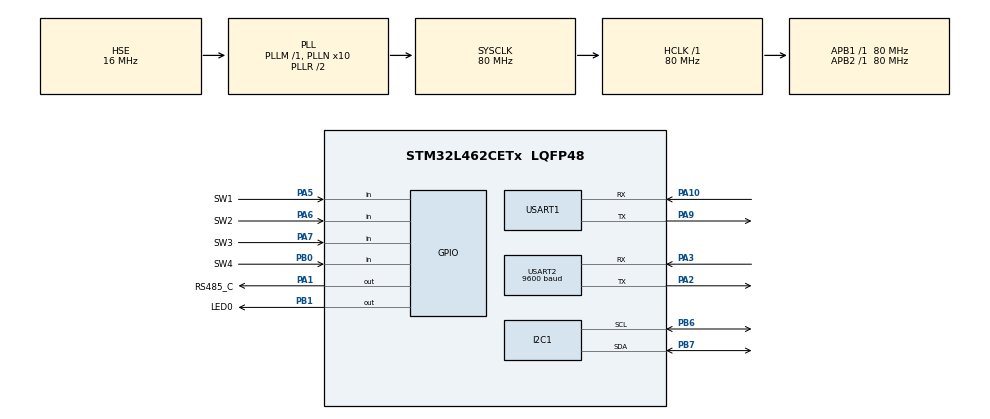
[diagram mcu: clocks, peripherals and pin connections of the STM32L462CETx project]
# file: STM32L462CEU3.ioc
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Dma.Request0=USART2_RX
Dma.USART2_RX.0.Direction=DMA_PERIPH_TO_MEMORY
Dma.USART2_RX.0.Instance=DMA1_Channel6
Dma.USART2_RX.0.MemDataAlignment=DMA_MDATAALIGN_BYTE
Dma.USART2_RX.0.MemInc=DMA_MINC_ENABLE
Dma.USART2_RX.0.Mode=DMA_CIRCULAR
Dma.USART2_RX.0.PeriphDataAlignment=DMA_PDATAALIGN_BYTE
Dma.USART2_RX.0.PeriphInc=DMA_PINC_DISABLE
Dma.USART2_RX.0.Priority=DMA_PRIORITY_LOW
I2C1.Timing=0x10909CEC
IWDG.Prescaler=IWDG_PRESCALER_32
IWDG.Reload=4000
IWDG.Window=4000
Mcu.Family=STM32L4
Mcu.Name=STM32L462CETx
Mcu.Package=LQFP48
NVIC.DMA1_Channel6_IRQn=true\:0\:0\:false\:false\:true\:false\:true\:true
NVIC.PriorityGroup=NVIC_PRIORITYGROUP_4
NVIC.TIM6_DAC_IRQn=true\:2\:0\:true\:false\:true\:true\:true\:true
NVIC.USART2_IRQn=true\:0\:0\:true\:false\:true\:true\:true\:true
PA1.GPIO_Label=RS485_C
PA1.Signal=GPIO_Output
PA10.Mode=Asynchronous
PA10.Signal=USART1_RX
PA13\ (JTMS/SWDIO).Mode=Trace_Asynchronous_SW
PA13\ (JTMS/SWDIO).Signal=SYS_JTMS-SWDIO
PA14\ (JTCK/SWCLK).Mode=Trace_Asynchronous_SW
PA14\ (JTCK/SWCLK).Signal=SYS_JTCK-SWCLK
PA2.Mode=Asynchronous
PA2.Signal=USART2_TX
PA3.Mode=Asynchronous
PA3.Signal=USART2_RX
PA5.GPIO_Label=SW1
PA5.GPIO_Mode=GPIO_MODE_INPUT
PA5.GPIO_PuPd=GPIO_PULLDOWN
PA5.Signal=GPIO_Input
PA6.GPIO_Label=SW2
PA6.GPIO_Mode=GPIO_MODE_INPUT
PA6.GPIO_PuPd=GPIO_PULLDOWN
PA6.Signal=GPIO_Input
PA7.GPIO_Label=SW3
PA7.GPIO_Mode=GPIO_MODE_INPUT
PA7.GPIO_PuPd=GPIO_PULLDOWN
PA7.Signal=GPIO_Input
PA9.Mode=Asynchronous
PA9.Signal=USART1_TX
PB0.GPIO_Label=SW4
PB0.GPIO_Mode=GPIO_MODE_INPUT
PB0.GPIO_PuPd=GPIO_PULLDOWN
PB0.Signal=GPIO_Input
PB1.GPIO_Label=LED0
PB1.GPIO_PuPd=GPIO_PULLUP
PB1.PinState=GPIO_PIN_SET
PB1.Signal=GPIO_Output
PB3\ (JTDO/TRACESWO).Mode=Trace_Asynchronous_SW
PB3\ (JTDO/TRACESWO).Signal=SYS_JTDO-SWO
PB6.GPIO_FM6=__NULL
PB6.GPIO_Mode=GPIO_MODE_AF_OD
PB6.GPIO_Pu=GPIO_PULLUP
PB6.GPIO_Speed=GPIO_SPEED_FREQ_MEDIUM
PB6.Mode=I2C
PB6.Signal=I2C1_SCL
PB7.GPIO_FM6=__NULL
PB7.GPIO_Mode=GPIO_MODE_AF_OD
PB7.GPIO_Pu=GPIO_PULLUP
PB7.GPIO_Speed=GPIO_SPEED_FREQ_MEDIUM
PB7.Mode=I2C
PB7.Signal=I2C1_SDA
PH0-OSC_IN\ (PH0).Mode=HSE-External-Oscillator
PH0-OSC_IN\ (PH0).Signal=RCC_OSC_IN
PH1-OSC_OUT\ (PH1).Mode=HSE-External-Oscillator
PH1-OSC_OUT\ (PH1).Signal=RCC_OSC_OUT
ProjectManager.HeapSize=0x200
ProjectManager.StackSize=0x400
ProjectManager.TargetToolchain=MDK-ARM V5.32
RCC.ADCFreq_Value=64000000
RCC.AHBFreq_Value=80000000
RCC.APB1Freq_Value=80000000
RCC.APB1TimFreq_Value=80000000
RCC.APB2Freq_Value=80000000
RCC.APB2TimFreq_Value=80000000
RCC.CortexFreq_Value=80000000
RCC.EnbaleCSS=true
RCC.HCLKFreq_Value=80000000
RCC.HSE_VALUE=16000000
RCC.HSI48_VALUE=48000000
RCC.HSI_VALUE=16000000
RCC.LSE_VALUE=32768
RCC.MSI_VALUE=4000000
RCC.PLLN=10
RCC.PLLSourceVirtual=RCC_PLLSOURCE_HSE
RCC.SYSCLKFreq_VALUE=80000000
RCC.SYSCLKSource=RCC_SYSCLKSOURCE_PLLCLK
RCC.USBFreq_Value=64000000
RCC.VCOOutputFreq_Value=160000000
TIM6.AutoReloadPreload=TIM_AUTORELOAD_PRELOAD_ENABLE
TIM6.Period=1000
TIM6.Prescaler=80-1
USART1.VirtualMode-Asynchronous=VM_ASYNC
USART2.BaudRate=9600
USART2.VirtualMode-Asynchronous=VM_ASYNC
VP_IWDG_VS_IWDG.Mode=IWDG_Activate
VP_TIM6_VS_ClockSourceINT.Mode=Enable_Timer
VP_TIM6_VS_OPM.Mode=OPM_bit
board=custom

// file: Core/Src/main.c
/* USER CODE BEGIN Header */
/**
 ******************************************************************************
 * @file           : main.c
 * @brief          : Main program body
 ******************************************************************************
 * @attention
 *
 * Copyright (c) 2022 STMicroelectronics.
 * All rights reserved.
 *
 * This software is licensed under terms that can be found in the LICENSE file
 * in the root directory of this software component.
 * If no LICENSE file comes with this software, it is provided AS-IS.
 *
 ******************************************************************************
 */
/* USER CODE END Header */
#include "main.h"

/* USER CODE BEGIN Includes */
#include "modbus.h"
#include "oled.h"
#include "stdio.h"
#include "string.h"
/* USER CODE END Includes */

I2C_HandleTypeDef hi2c1;

IWDG_HandleTypeDef hiwdg;

TIM_HandleTypeDef htim6;

UART_HandleTypeDef huart1;
UART_HandleTypeDef huart2;
DMA_HandleTypeDef hdma_usart2_rx;

/* USER CODE BEGIN PV */

/* 保证按钮扫描的时间 */
uint32_t button_time_count = 0;
/* 按钮标记 0-没有按下 1,2,3,4代表对应的按钮按下 */
uint32_t button_flag = 0;

/* modbus数据解析成功的标志，HAL_OK为解析正常，HAL_ERROR为解析异常 */
HAL_StatusTypeDef modbus_status = HAL_ERROR;

/* ↓↓↓↓↓ moubus底层不定长数据接收，使用DMA环形缓存区+软件双缓存 ↓↓↓↓↓ */
uint8_t aRXBufferUser[RX_BUFFER_SIZE]; // DMA复制目标环形空间地址
uint8_t aRXBufferA[RX_BUFFER_SIZE];    //用户空间A
uint8_t aRXBufferB[RX_BUFFER_SIZE];    //用户空间B
volatile uint32_t uwNbReceivedChars;   //收到数据的量
uint8_t *pBufferReadyForUser;          //用于用户解析的空间指针
uint8_t *pBufferReadyForReception;     //用于备用缓存区的空间指针
/* ↑↑↑↑↑ moubus底层不定长数据接收，使用DMA环形缓存区+软件双缓存 ↑↑↑↑↑ */

/* modbus数据收取成功标志，需要读完复位 */
volatile uint32_t modbus_data_flag = 0;

/* 数据存放内存空间，结构体数组，下标为从机地址 */
struct struct_data_from_r data_from_r[8];

/* 主循环通知中断解析数据类型 */
enum Data_Type Data_Type_e;

/* 单位字符串，用于显示 */
char *Instantaneous_flow_unit_name[12] = {"L/S",  "L/M", "L/H", "M3/S", "M3/M",
                                          "M3/H", "T/S", "T/M", "T/H"};
char *Forward_flow_unit_name[4] = {"L", "M3", "T", "USG"};

/* 显示从机下标,0代表显示主页面 */
uint32_t show_addr_flag = 0;

uint16_t send_cmd[] = {0x1010, 0x1018, 0x1020, 0x1021};

/* USER CODE END PV */

void SystemClock_Config(void);
static void MX_GPIO_Init(void);
static void MX_I2C1_Init(void);
static void MX_USART1_UART_Init(void);
static void MX_USART2_UART_Init(void);
static void MX_DMA_Init(void);
static void MX_TIM6_Init(void);
static void MX_IWDG_Init(void);

/* USER CODE BEGIN 0 */

int stdout_putchar(int ch)
{
    HAL_UART_Transmit(&huart1, (uint8_t *)&ch, 1, 0xffff);
    return ch;
}

void oled_Init(void)
{
    //初始化oled屏幕
    OLED_Init();
    //开启OLED显示
    OLED_Display_On();
    //清屏
    OLED_Clear();
}

void Bsp_Init(void)
{
    HAL_TIM_Base_Start_IT(&htim6);
    /* OLED显示屏初始化 */
    /* 喂狗 */
    HAL_IWDG_Refresh(&hiwdg);
    oled_Init();
    /* 喂狗 */
    HAL_IWDG_Refresh(&hiwdg);
    /* 接收模式 */
    RS485_Set_RE();
    /* 为软件双缓存区指针赋值 */
    pBufferReadyForReception = aRXBufferA;
    pBufferReadyForUser = aRXBufferB;
    /* 接收的数据字节复位 */
    uwNbReceivedChars = 0;
    // 初始化RS485串口为DMA接收模式，且带有可编程空闲检测中断
    if (HAL_OK !=
        HAL_UARTEx_ReceiveToIdle_DMA(&huart2, aRXBufferUser, RX_BUFFER_SIZE))
    {
        Error_Handler();
    }
    // 3.5 个字符时间设置为空闲检测时间
    HAL_UART_ReceiverTimeout_Config(&huart2, 10 + 10 + 10 + 5);
}

void oled_show_inf(void)
{
    struct struct_data_from_r *pData;
    char tempc[36];
    if (show_addr_flag == 0)
    {
        /* 张泽韬潘锦涛课设 */
        /* 可读数据瞬时流量 */
        /* 以及正向累计流量 */
        /* 按钮一可切换从机 */
        for (int k = 0; k < 4; k++)
            for (int i = 0; i < 8; i++)
                OLED_ShowCHinese(16 * i, 16 * k, i + 8 * k);
    }
    else
    {
        pData = data_from_r + show_addr_flag - 1;
        memset(tempc, 0, 36);
        OLED_Clear();
        /* 第一行：瞬时流量 [单位] [从机地址] */
        OLED_ShowCHinese(0, 0, 12);
        OLED_ShowCHinese(16, 0, 13);
        OLED_ShowCHinese(16 * 2, 0, 14);
        OLED_ShowCHinese(16 * 3, 0, 15);
        OLED_ShowString(16 * 4 + 8, 0,
                        (uint8_t *)pData->Instantaneous_flow_unit, BIG_FONT_EN);
        OLED_ShowNum(16 * 7 + 8, 0, show_addr_flag, 1, BIG_FONT_EN);
        /* 第二行和第三行：6x8字体大小显示瞬时流量 */
        sprintf(tempc, "  %.6f\0", pData->Instantaneous_flow);
        tempc[35] = '\0';
        OLED_ShowString(0, 16 * 1, (uint8_t *)tempc, SMALL_FONT_EN);
        /* 第四行：正向累计流量 [单位] */
        OLED_ShowCHinese(0, 16 * 2, 18);
        OLED_ShowCHinese(16 * 1, 16 * 2, 19);
        OLED_ShowCHinese(16 * 2, 16 * 2, 20);
        OLED_ShowCHinese(16 * 3, 16 * 2, 21);
        OLED_ShowCHinese(16 * 4, 16 * 2, 22);
        OLED_ShowCHinese(16 * 5, 16 * 2, 23);
        OLED_ShowString(16 * 6 + 8, 0, (uint8_t *)pData->Forward_flow_unit,
                        BIG_FONT_EN);
        /* 第五行和第六行：6x8大小显示正向累计流量 */
        sprintf(tempc, "  %.6lf\0",
                ((double)pData->Forward_flow_long +
                 (double)pData->Forward_flow_float));
        tempc[35] = '\0';
        OLED_ShowString(0, 16 * 3, (uint8_t *)tempc, SMALL_FONT_EN);
    }
}

/* 扫描按钮 */
void Scan_Button(void)
{
    static uint32_t button_xd = 0;
    if (GPIO_PIN_SET == HAL_GPIO_ReadPin(SW1_GPIO_Port, SW1_Pin))
        BUTTON_SCAN(1)
    else if (GPIO_PIN_SET == HAL_GPIO_ReadPin(SW2_GPIO_Port, SW2_Pin))
        BUTTON_SCAN(2)
    else if (GPIO_PIN_SET == HAL_GPIO_ReadPin(SW3_GPIO_Port, SW3_Pin))
        BUTTON_SCAN(3)
    else if (GPIO_PIN_SET == HAL_GPIO_ReadPin(SW4_GPIO_Port, SW4_Pin))
        BUTTON_SCAN(4)
}

/* 定时器回调 */
void HAL_TIM_PeriodElapsedCallback(TIM_HandleTypeDef *htim)
{
    if (htim == &htim6)
    {
        /* 1kHz */
        if (button_time_count == 20)
        {
            /* 50Hz */
            button_time_count = 0;
            Scan_Button();
        }
        button_time_count += 1;
    }
}

/* 串口不定时收取数据空闲中断处理回调 */
void UserDataTreatment(UART_HandleTypeDef *huart, uint8_t *pData, uint16_t Size)
{
    /*
     * This function might be called in any of the following interrupt contexts
     * :
     *  - DMA TC and HT events
     *  - UART IDLE line event
     *
     * pData and Size defines the buffer where received data have been copied,
     * in order to be processed. During this processing of already received
     * data, reception is still ongoing.
     *
     */
    /*
     *此函数可以在以下任何中断上下文中调用：
     *-DMA TC和HT事件
     *-UART空闲线路事件
     *
     *pData和Size定义复制接收到的数据以进行处理的缓冲区。
     *在处理已接收数据的过程中，接收仍在进行。
     *
     */
    modbus_status = Master_Rx_Data(pData, Size, Data_Type_e);
#if 0
    uint8_t *pBuff = pData;
    uint8_t i;
    /* Implementation of loopback is on purpose implemented in direct register access,
        in order to be able to echo received characters as fast as they are received.
        Wait for TC flag to be raised at end of transmit is then removed, only TXE is checked */
    /*环回的实现是在直接寄存器访问中故意实现的，
    以便能够以接收字符的速度回显接收到的字符。
    等待TC标志在传输结束时升起，然后移除，只检查TXE*/
    for (i = 0; i < Size; i++)
    {
        while (!(__HAL_UART_GET_FLAG(huart, UART_FLAG_TXE)))
        {
        }
        huart->Instance->TDR = *pBuff;
        pBuff++;
    }
#endif
}

/* 串口接收事件回调 */
void HAL_UARTEx_RxEventCallback(UART_HandleTypeDef *huart, uint16_t Size)
{
    static uint8_t old_pos = 0;
    uint8_t *ptemp;
    uint8_t i;

    /* Check if number of received data in recpetion buffer has changed */
    /*检查recpetion缓冲区中接收的数据数量是否已更改*/
    if (Size != old_pos)
    {
        /* Check if position of index in reception buffer has simply be
           increased of if end of buffer has been reached */
        /*检查接收缓冲器中的索引位置是否只是增加了
            如果已到达缓冲区的末尾*/
        if (Size > old_pos)
        {
            /* Current position is higher than previous one */
            uwNbReceivedChars = Size - old_pos;
            /* Copy received data in "User" buffer for evacuation */
            /*将接收到的数据复制到“用户”缓冲区以进行疏散*/
            for (i = 0; i < uwNbReceivedChars; i++)
            {
                pBufferReadyForUser[i] = aRXBufferUser[old_pos + i];
            }
        }
        else
        {
            /* Current position is lower than previous one : end of buffer has
             * been reached */
            /* First copy data from current position till end of buffer */
            /*当前位置低于前一个位置：已到达缓冲区末端*/
            /*首先从当前位置复制数据，直到缓冲区结束*/
            uwNbReceivedChars = RX_BUFFER_SIZE - old_pos;
            /* Copy received data in "User" buffer for evacuation */
            /*将接收到的数据复制到“用户”缓冲区以进行疏散*/
            for (i = 0; i < uwNbReceivedChars; i++)
            {
                pBufferReadyForUser[i] = aRXBufferUser[old_pos + i];
            }
            /* Check and continue with beginning of buffer */
            /*检查并继续缓冲区的开始*/
            if (Size > 0)
            {
                for (i = 0; i < Size; i++)
                {
                    pBufferReadyForUser[uwNbReceivedChars + i] =
                        aRXBufferUser[i];
                }
                uwNbReceivedChars += Size;
            }
        }
        /* Process received data that has been extracted from Rx User buffer */
        /*处理从Rx用户缓冲区提取的接收数据*/
        UserDataTreatment(huart, pBufferReadyForUser, uwNbReceivedChars);

        /* Swap buffers for next bytes to be processed */
        /*为下一个要处理的字节交换缓冲区*/
        ptemp = pBufferReadyForUser;
        pBufferReadyForUser = pBufferReadyForReception;
        pBufferReadyForReception = ptemp;
    }
    /* Update old_pos as new reference of position in User Rx buffer that
       indicates position to which data have been processed */
    /*将旧的_pos更新为用户接收缓冲区中位置的新参考
        指示数据已处理到的位置*/
    old_pos = Size;
}

/* USER CODE END 0 */

int main(void)
{

    /* MCU
     * Configuration--------------------------------------------------------*/

    /* Reset of all peripherals, Initializes the Flash interface and the
     * Systick. */
    HAL_Init();

    /* Configure the system clock */
    SystemClock_Config();

    /* Initialize all configured peripherals */
    MX_GPIO_Init();
    MX_I2C1_Init();
    MX_USART1_UART_Init();
    MX_USART2_UART_Init();
    MX_DMA_Init();
    MX_TIM6_Init();
    MX_IWDG_Init();
    /* USER CODE BEGIN 2 */
    Bsp_Init();
    uint32_t error_count = 0, error_count_old = 0;
    /* USER CODE END 2 */

    /* Infinite loop */
    /* USER CODE BEGIN WHILE */
    /* 喂狗 */
    HAL_IWDG_Refresh(&hiwdg);
    while (1)
    {
        /* USER CODE END WHILE */

        /* USER CODE BEGIN 3 */
        error_count_old = error_count;
        /* 查询八个从机 */
        for (int i = 1; i <= 8; i++)
        {
            /* 查询四个量 */
            Data_Type_e = Data_Type_Instantaneous;
            Master_Send(i, send_cmd[Data_Type_e], 2);
            WAIT_MUDBUS(error_count);
            Data_Type_e = Data_Type_Forward_flow;
            Master_Send(i, send_cmd[Data_Type_e], 4);
            WAIT_MUDBUS(error_count);
            Data_Type_e = Data_Type_Instantaneous_flow_unit;
            Master_Send(i, send_cmd[Data_Type_e], 1);
            WAIT_MUDBUS(error_count);
            Data_Type_e = Data_Type_Forward_flow_unit;
            Master_Send(i, send_cmd[Data_Type_e], 1);
            WAIT_MUDBUS(error_count);
        }
        /* 如果查询八个从机的四个量都没有错误，则错误计数归0 */
        if (error_count_old == error_count)
            error_count = 0;
        /* 如果错误数量足够多，就进入错误函数，等待狗复位 */
        if (error_count >= 100)
            Error_Handler();
        /* 获取按钮当前按下的信息 */
        switch (button_flag)
        {
        case 0: /* 未按下按钮 */
            break;
        case 1: /* 按钮1 */
            show_addr_flag = show_addr_flag == 8 ? 0 : show_addr_flag + 1;
            button_flag = 0;
            break;
        case 2: /* 按钮2 */
            break;
        case 3: /* 按钮3 */
            break;
        case 4: /* 按钮4 */
            break;
        }
        /* 显示屏根据需要显示的内容进行刷新 */
        oled_show_inf();
        /* 输出获取的信息 */
        for (uint32_t i; i < 8; i++)
            printf("从机:%d 瞬时流量:%.6f %s 正向累计流量:%.6lf %s\r\n", i + 1,
                   data_from_r[i].Instantaneous_flow,
                   data_from_r[i].Instantaneous_flow_unit,
                   ((double)data_from_r[i].Forward_flow_long +
                    (double)data_from_r[i].Forward_flow_float),
                   data_from_r[i].Forward_flow_unit);
        /* 延时半秒 */
        HAL_Delay(500);
        /* 喂狗 */
        HAL_IWDG_Refresh(&hiwdg);
    }
    /* USER CODE END 3 */
}

void SystemClock_Config(void)
{
    RCC_OscInitTypeDef RCC_OscInitStruct = {0};
    RCC_ClkInitTypeDef RCC_ClkInitStruct = {0};

    /** Configure the main internal regulator output voltage
     */
    if (HAL_PWREx_ControlVoltageScaling(PWR_REGULATOR_VOLTAGE_SCALE1) != HAL_OK)
    {
        Error_Handler();
    }

    /** Initializes the RCC Oscillators according to the specified parameters
     * in the RCC_OscInitTypeDef structure.
     */
    RCC_OscInitStruct.OscillatorType =
        RCC_OSCILLATORTYPE_LSI | RCC_OSCILLATORTYPE_HSE;
    RCC_OscInitStruct.HSEState = RCC_HSE_ON;
    RCC_OscInitStruct.LSIState = RCC_LSI_ON;
    RCC_OscInitStruct.PLL.PLLState = RCC_PLL_ON;
    RCC_OscInitStruct.PLL.PLLSource = RCC_PLLSOURCE_HSE;
    RCC_OscInitStruct.PLL.PLLM = 1;
    RCC_OscInitStruct.PLL.PLLN = 10;
    RCC_OscInitStruct.PLL.PLLP = RCC_PLLP_DIV7;
    RCC_OscInitStruct.PLL.PLLQ = RCC_PLLQ_DIV2;
    RCC_OscInitStruct.PLL.PLLR = RCC_PLLR_DIV2;
    if (HAL_RCC_OscConfig(&RCC_OscInitStruct) != HAL_OK)
    {
        Error_Handler();
    }

    /** Initializes the CPU, AHB and APB buses clocks
     */
    RCC_ClkInitStruct.ClockType = RCC_CLOCKTYPE_HCLK | RCC_CLOCKTYPE_SYSCLK |
                                  RCC_CLOCKTYPE_PCLK1 | RCC_CLOCKTYPE_PCLK2;
    RCC_ClkInitStruct.SYSCLKSource = RCC_SYSCLKSOURCE_PLLCLK;
    RCC_ClkInitStruct.AHBCLKDivider = RCC_SYSCLK_DIV1;
    RCC_ClkInitStruct.APB1CLKDivider = RCC_HCLK_DIV1;
    RCC_ClkInitStruct.APB2CLKDivider = RCC_HCLK_DIV1;

    if (HAL_RCC_ClockConfig(&RCC_ClkInitStruct, FLASH_LATENCY_4) != HAL_OK)
    {
        Error_Handler();
    }

    /** Enables the Clock Security System
     */
    HAL_RCC_EnableCSS();
}

static void MX_I2C1_Init(void)
{

    hi2c1.Instance = I2C1;
    hi2c1.Init.Timing = 0x10909CEC;
    hi2c1.Init.OwnAddress1 = 0;
    hi2c1.Init.AddressingMode = I2C_ADDRESSINGMODE_7BIT;
    hi2c1.Init.DualAddressMode = I2C_DUALADDRESS_DISABLE;
    hi2c1.Init.OwnAddress2 = 0;
    hi2c1.Init.OwnAddress2Masks = I2C_OA2_NOMASK;
    hi2c1.Init.GeneralCallMode = I2C_GENERALCALL_DISABLE;
    hi2c1.Init.NoStretchMode = I2C_NOSTRETCH_DISABLE;
    if (HAL_I2C_Init(&hi2c1) != HAL_OK)
    {
        Error_Handler();
    }

    /** Configure Analogue filter
     */
    if (HAL_I2CEx_ConfigAnalogFilter(&hi2c1, I2C_ANALOGFILTER_ENABLE) != HAL_OK)
    {
        Error_Handler();
    }

    /** Configure Digital filter
     */
    if (HAL_I2CEx_ConfigDigitalFilter(&hi2c1, 0) != HAL_OK)
    {
        Error_Handler();
    }
}

static void MX_IWDG_Init(void)
{

    hiwdg.Instance = IWDG;
    hiwdg.Init.Prescaler = IWDG_PRESCALER_32;
    hiwdg.Init.Window = 4000;
    hiwdg.Init.Reload = 4000;
    if (HAL_IWDG_Init(&hiwdg) != HAL_OK)
    {
        Error_Handler();
    }
}

static void MX_TIM6_Init(void)
{

    TIM_MasterConfigTypeDef sMasterConfig = {0};

    htim6.Instance = TIM6;
    htim6.Init.Prescaler = 80 - 1;
    htim6.Init.CounterMode = TIM_COUNTERMODE_UP;
    htim6.Init.Period = 1000;
    htim6.Init.AutoReloadPreload = TIM_AUTORELOAD_PRELOAD_ENABLE;
    if (HAL_TIM_Base_Init(&htim6) != HAL_OK)
    {
        Error_Handler();
    }
    if (HAL_TIM_OnePulse_Init(&htim6, TIM_OPMODE_SINGLE) != HAL_OK)
    {
        Error_Handler();
    }
    sMasterConfig.MasterOutputTrigger = TIM_TRGO_RESET;
    sMasterConfig.MasterSlaveMode = TIM_MASTERSLAVEMODE_DISABLE;
    if (HAL_TIMEx_MasterConfigSynchronization(&htim6, &sMasterConfig) != HAL_OK)
    {
        Error_Handler();
    }
}

static void MX_USART1_UART_Init(void)
{

    huart1.Instance = USART1;
    huart1.Init.BaudRate = 115200;
    huart1.Init.WordLength = UART_WORDLENGTH_8B;
    huart1.Init.StopBits = UART_STOPBITS_1;
    huart1.Init.Parity = UART_PARITY_NONE;
    huart1.Init.Mode = UART_MODE_TX_RX;
    huart1.Init.HwFlowCtl = UART_HWCONTROL_NONE;
    huart1.Init.OverSampling = UART_OVERSAMPLING_16;
    huart1.Init.OneBitSampling = UART_ONE_BIT_SAMPLE_DISABLE;
    huart1.AdvancedInit.AdvFeatureInit = UART_ADVFEATURE_NO_INIT;
    if (HAL_UART_Init(&huart1) != HAL_OK)
    {
        Error_Handler();
    }
}

static void MX_USART2_UART_Init(void)
{

    huart2.Instance = USART2;
    huart2.Init.BaudRate = 9600;
    huart2.Init.WordLength = UART_WORDLENGTH_8B;
    huart2.Init.StopBits = UART_STOPBITS_1;
    huart2.Init.Parity = UART_PARITY_NONE;
    huart2.Init.Mode = UART_MODE_TX_RX;
    huart2.Init.HwFlowCtl = UART_HWCONTROL_NONE;
    huart2.Init.OverSampling = UART_OVERSAMPLING_16;
    huart2.Init.OneBitSampling = UART_ONE_BIT_SAMPLE_DISABLE;
    huart2.AdvancedInit.AdvFeatureInit = UART_ADVFEATURE_NO_INIT;
    if (HAL_UART_Init(&huart2) != HAL_OK)
    {
        Error_Handler();
    }
}

static void MX_DMA_Init(void)
{

    /* DMA controller clock enable */
    __HAL_RCC_DMA1_CLK_ENABLE();

    /* DMA interrupt init */
    /* DMA1_Channel6_IRQn interrupt configuration */
    HAL_NVIC_SetPriority(DMA1_Channel6_IRQn, 0, 0);
    HAL_NVIC_EnableIRQ(DMA1_Channel6_IRQn);
}

static void MX_GPIO_Init(void)
{
    GPIO_InitTypeDef GPIO_InitStruct = {0};

    /* GPIO Ports Clock Enable */
    __HAL_RCC_GPIOH_CLK_ENABLE();
    __HAL_RCC_GPIOA_CLK_ENABLE();
    __HAL_RCC_GPIOB_CLK_ENABLE();

    /*Configure GPIO pin Output Level */
    HAL_GPIO_WritePin(RS485_C_GPIO_Port, RS485_C_Pin, GPIO_PIN_RESET);

    /*Configure GPIO pin Output Level */
    HAL_GPIO_WritePin(LED0_GPIO_Port, LED0_Pin, GPIO_PIN_SET);

    /*Configure GPIO pin : RS485_C_Pin */
    GPIO_InitStruct.Pin = RS485_C_Pin;
    GPIO_InitStruct.Mode = GPIO_MODE_OUTPUT_PP;
    GPIO_InitStruct.Pull = GPIO_NOPULL;
    GPIO_InitStruct.Speed = GPIO_SPEED_FREQ_LOW;
    HAL_GPIO_Init(RS485_C_GPIO_Port, &GPIO_InitStruct);

    /*Configure GPIO pins : SW1_Pin SW2_Pin SW3_Pin */
    GPIO_InitStruct.Pin = SW1_Pin | SW2_Pin | SW3_Pin;
    GPIO_InitStruct.Mode = GPIO_MODE_INPUT;
    GPIO_InitStruct.Pull = GPIO_PULLDOWN;
    HAL_GPIO_Init(GPIOA, &GPIO_InitStruct);

    /*Configure GPIO pin : SW4_Pin */
    GPIO_InitStruct.Pin = SW4_Pin;
    GPIO_InitStruct.Mode = GPIO_MODE_INPUT;
    GPIO_InitStruct.Pull = GPIO_PULLDOWN;
    HAL_GPIO_Init(SW4_GPIO_Port, &GPIO_InitStruct);

    /*Configure GPIO pin : LED0_Pin */
    GPIO_InitStruct.Pin = LED0_Pin;
    GPIO_InitStruct.Mode = GPIO_MODE_OUTPUT_PP;
    GPIO_InitStruct.Pull = GPIO_PULLUP;
    GPIO_InitStruct.Speed = GPIO_SPEED_FREQ_LOW;
    HAL_GPIO_Init(LED0_GPIO_Port, &GPIO_InitStruct);
}

void Error_Handler(void)
{
    /* USER CODE BEGIN Error_Handler_Debug */
    /* User can add his own implementation to report the HAL error return state
     */
    /* 禁止全局中断 */
    __disable_irq();
    while (1)
    {
        HAL_GPIO_TogglePin(LED0_GPIO_Port, LED0_Pin);
        HAL_UART_Transmit(&huart1, "Error_Handler\r\n",
                          sizeof("Error_Handler\r\n") - 1, 0xfff);
        HAL_Delay(200);
    }
    /* USER CODE END Error_Handler_Debug */
}

#ifdef USE_FULL_ASSERT
/**
 * @brief  Reports the name of the source file and the source line number
 *         where the assert_param error has occurred.
 * @param  file: pointer to the source file name
 * @param  line: assert_param error line source number
 * @retval None
 */
void assert_failed(uint8_t *file, uint32_t line)
{
    /* USER CODE BEGIN 6 */
    /* User can add his own implementation to report the file name and line
       number, ex: printf("Wrong parameters value: file %s on line %d\r\n",
       file, line) */
    /* USER CODE END 6 */
}
#endif /* USE_FULL_ASSERT */
